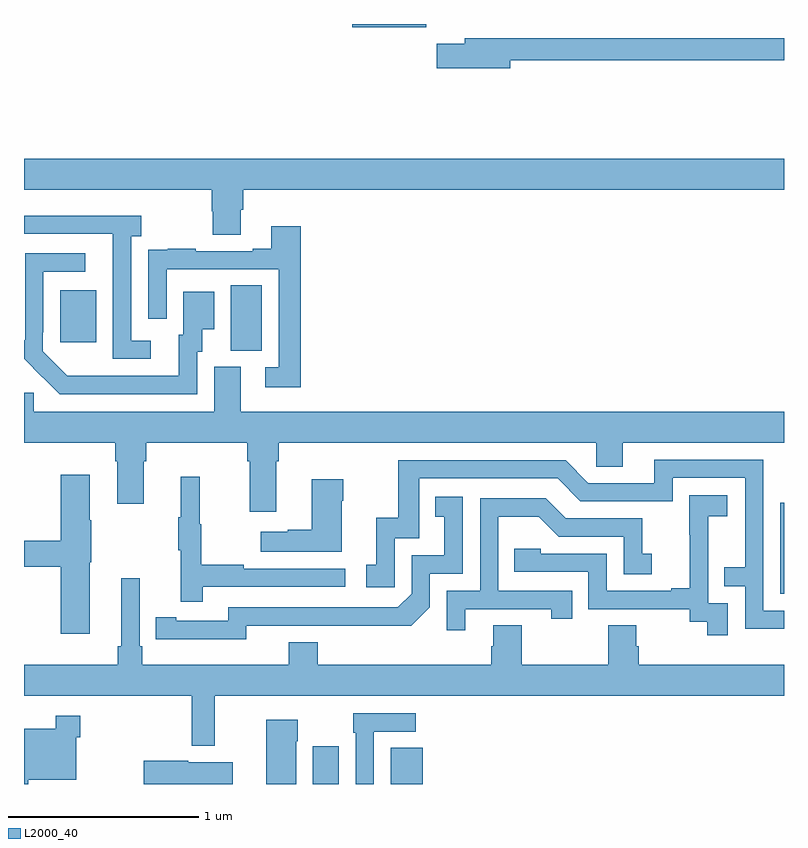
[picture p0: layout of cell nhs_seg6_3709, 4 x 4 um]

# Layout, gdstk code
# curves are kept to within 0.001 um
import gdstk
lib = gdstk.Library(unit=1e-6, precision=1e-09)
def R(c, l, rs):  # rectangles x0, y0, x1, y1
    for r in rs: c.add(gdstk.rectangle(r[:2], r[2:], *l))
def P(c, l, *ps):  # polygons
    for p in ps: c.add(gdstk.Polygon(p, *l))
L2000_40 = (2000, 40)

nhs_seg6_3709 = lib.new_cell('nhs_seg6_3709')
R(nhs_seg6_3709, L2000_40, [(328.52,985.5,328.657,985.699), (328.931,985.5,329.098,985.691), (330.981,986.502,331,986.979), (328.088,987.781,328.252,988.124), (327.191,987.825,327.379,988.099), (328.728,989.483,329.116,989.5)])
P(nhs_seg6_3709, L2000_40, [(329.56,989.308),(331,989.308),(331,989.424),(329.321,989.424),(329.321,989.395),(329.172,989.395),(329.172,989.266),(329.56,989.266)],
  [(328.141,988.522),(328.154,988.522),(328.154,988.628),(331,988.628),(331,988.792),(327,988.792),(327,988.628),(327.989,988.628),(327.989,988.515),(327.994,988.515),(327.994,988.39),(328.141,988.39)],
  [(327.667,987.834),(327.564,987.834),(327.564,988.382),(327.616,988.382),(327.616,988.492),(327,988.492),(327,988.395),(327.467,988.395),(327.467,988.195),(327.468,988.195),(327.468,987.738),(327.667,987.738)],
  [(328.457,988.435),(328.301,988.435),(328.301,988.318),(328.205,988.318),(328.205,988.305),(327.905,988.305),(327.905,988.318),(327.757,988.318),(327.757,988.311),(327.655,988.311),(327.655,988.202),(327.654,988.202),(327.654,987.948),(327.75,987.948),(327.75,988.209),(328.341,988.209),(328.341,987.693),(328.269,987.693),(328.269,987.588),(328.457,987.588)],
  [(327.912,987.774),(327.937,987.774),(327.937,987.893),(328,987.893),(328,988.09),(327.839,988.09),(327.839,987.864),(327.815,987.864),(327.815,987.648),(327.228,987.649),(327.099,987.777),(327.099,987.877),(327.102,987.877),(327.102,988.197),(327.322,988.197),(327.322,988.293),(327.006,988.293),(327.006,987.835),(327,987.835),(327,987.738),(327.188,987.552),(327.912,987.552)],
  [(328.327,987.2),(328.34,987.2),(328.34,987.296),(330.012,987.296),(330.012,987.169),(330.151,987.169),(330.151,987.296),(331,987.296),(331,987.46),(328.141,987.46),(328.141,987.696),(328.001,987.696),(328.001,987.46),(327.051,987.46),(327.051,987.558),(327,987.558),(327,987.296),(327.479,987.296),(327.479,987.2),(327.491,987.2),(327.491,986.976),(327.631,986.976),(327.631,987.2),(327.644,987.2),(327.644,987.296),(328.175,987.296),(328.175,987.2),(328.187,987.2),(328.187,986.934),(328.327,986.934)],
  [(331,986.412),(330.891,986.412),(330.891,987.207),(330.317,987.207),(330.317,987.084),(329.97,987.084),(329.85,987.204),(328.971,987.204),(328.971,986.902),(328.853,986.902),(328.853,986.655),(328.8,986.655),(328.8,986.535),(328.95,986.535),(328.95,986.793),(329.079,986.793),(329.079,987.108),(329.808,987.108),(329.928,986.988),(330.414,986.988),(330.414,987.111),(330.795,987.111),(330.795,986.642),(330.685,986.642),(330.685,986.541),(330.795,986.541),(330.795,986.316),(331,986.316)],
  [(327.346,986.667),(327.354,986.667),(327.354,986.888),(327.346,986.888),(327.346,987.127),(327.193,987.127),(327.193,986.78),(327,986.78),(327,986.644),(327.193,986.644),(327.193,986.292),(327.346,986.292)],
  [(327.941,986.538),(328.69,986.538),(328.69,986.634),(328.157,986.634),(328.157,986.654),(327.934,986.654),(327.934,986.868),(327.926,986.868),(327.926,987.118),(327.824,987.118),(327.824,986.905),(327.813,986.905),(327.813,986.731),(327.824,986.731),(327.824,986.46),(327.941,986.46)],
  [(328.672,986.99),(328.68,986.99),(328.68,987.103),(328.514,987.103),(328.514,986.837),(328.388,986.837),(328.388,986.827),(328.245,986.827),(328.245,986.723),(328.672,986.723)],
  [(330.705,986.451),(330.6,986.451),(330.6,986.681),(330.602,986.681),(330.602,986.909),(330.7,986.909),(330.7,987.019),(330.502,987.019),(330.502,986.813),(330.503,986.813),(330.503,986.53),(330.407,986.53),(330.407,986.517),(330.066,986.517),(330.066,986.712),(329.721,986.712),(329.721,986.739),(329.581,986.739),(329.581,986.616),(329.97,986.616),(329.97,986.421),(330.504,986.421),(330.504,986.353),(330.597,986.353),(330.597,986.283),(330.705,986.283)],
  [(328.17,986.334),(329.038,986.333),(329.136,986.43),(329.136,986.607),(329.31,986.607),(329.31,987.013),(329.164,987.013),(329.164,986.907),(329.213,986.907),(329.213,986.703),(329.04,986.703),(329.04,986.502),(328.968,986.43),(328.074,986.43),(328.074,986.358),(327.802,986.358),(327.802,986.378),(327.694,986.378),(327.694,986.262),(328.17,986.261)],
  [(329.323,986.421),(329.774,986.421),(329.774,986.37),(329.885,986.37),(329.885,986.517),(329.496,986.517),(329.496,986.906),(329.71,986.906),(329.814,986.802),(330.156,986.802),(330.156,986.604),(330.304,986.604),(330.304,986.713),(330.255,986.713),(330.255,986.898),(329.851,986.898),(329.746,987.003),(329.4,987.003),(329.4,986.517),(329.226,986.517),(329.226,986.31),(329.323,986.31)],
  [(328.004,985.964),(331,985.964),(331,986.128),(330.236,986.128),(330.236,986.226),(330.223,986.226),(330.223,986.336),(330.076,986.336),(330.076,986.128),(329.619,986.128),(329.619,986.336),(329.471,986.336),(329.471,986.226),(329.459,986.226),(329.459,986.128),(328.547,986.128),(328.547,986.245),(328.394,986.245),(328.394,986.128),(327.623,986.128),(327.623,986.224),(327.609,986.224),(327.609,986.584),(327.512,986.584),(327.512,986.224),(327.493,986.224),(327.493,986.128),(327,986.128),(327,985.964),(327.884,985.964),(327.884,985.701),(328.004,985.701)],
  [(328.842,985.776),(329.062,985.776),(329.062,985.872),(328.734,985.872),(328.734,985.769),(328.746,985.769),(328.746,985.5),(328.842,985.5)],
  [(327.023,985.523),(327.276,985.523),(327.276,985.745),(327.296,985.745),(327.296,985.858),(327.168,985.858),(327.168,985.792),(327,985.792),(327,985.5),(327.023,985.5)],
  [(328.432,985.724),(328.44,985.724),(328.44,985.837),(328.274,985.837),(328.274,985.5),(328.432,985.5)],
  [(328.099,985.615),(327.864,985.615),(327.864,985.622),(327.63,985.622),(327.63,985.5),(328.099,985.5)])

lib.write_gds('nhs_seg6_3709.gds')
